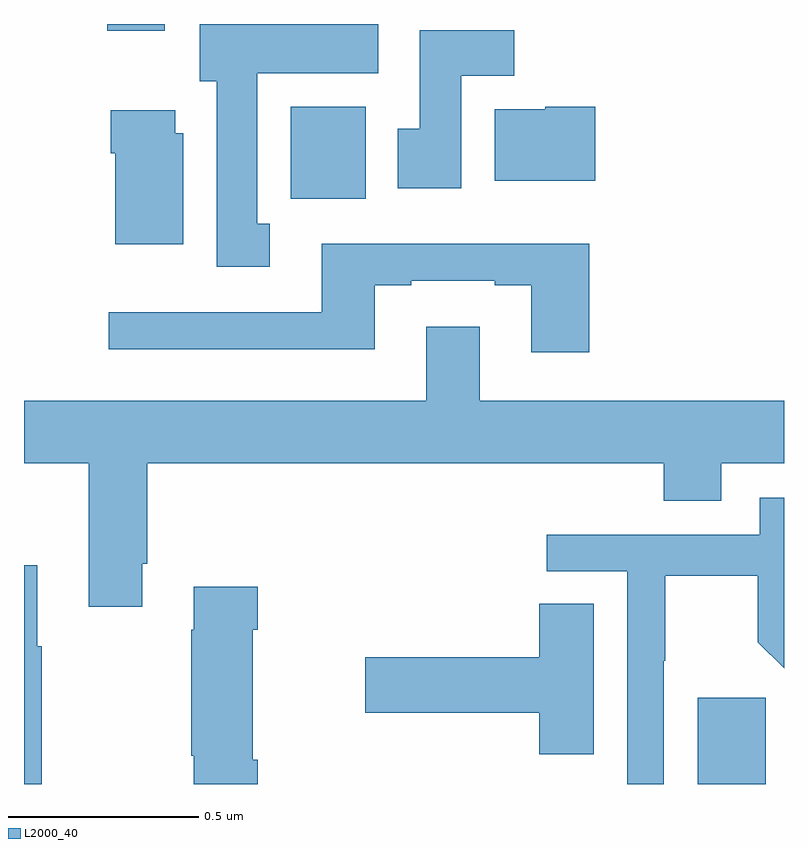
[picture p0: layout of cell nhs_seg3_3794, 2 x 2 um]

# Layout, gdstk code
import gdstk
lib = gdstk.Library(unit=1e-6, precision=1e-09)
def R(c, l, rs):  # rectangles x0, y0, x1, y1
    for r in rs: c.add(gdstk.rectangle(r[:2], r[2:], *l))
def P(c, l, *ps):  # polygons
    for p in ps: c.add(gdstk.Polygon(p, *l))
L2000_40 = (2000, 40)

nhs_seg3_3794 = lib.new_cell('nhs_seg3_3794')
R(nhs_seg3_3794, L2000_40, [(159.773,705.4,159.952,705.627), (158.702,706.94,158.899,707.182), (158.219,707.382,158.371,707.4)])
P(nhs_seg3_3794, L2000_40, [(158.647,706.874),(158.614,706.874),(158.614,707.27),(158.932,707.27),(158.932,707.4),(158.462,707.4),(158.462,707.25),(158.507,707.25),(158.507,706.761),(158.647,706.761)],
  [(159.151,707.264),(159.29,707.264),(159.29,707.383),(159.041,707.383),(159.041,707.124),(158.984,707.124),(158.984,706.968),(159.151,706.968)],
  [(159.503,707.182),(159.372,707.182),(159.372,707.176),(159.239,707.176),(159.239,706.988),(159.503,706.988)],
  [(158.419,707.112),(158.398,707.112),(158.398,707.173),(158.228,707.173),(158.228,707.06),(158.24,707.06),(158.24,706.82),(158.419,706.82)],
  [(159.488,706.822),(158.783,706.822),(158.783,706.641),(158.223,706.641),(158.223,706.544),(158.923,706.544),(158.923,706.713),(159.019,706.713),(159.019,706.725),(159.239,706.725),(159.239,706.713),(159.335,706.713),(159.335,706.536),(159.488,706.536)],
  [(158.311,705.979),(158.324,705.979),(158.324,706.244),(159.683,706.244),(159.683,706.145),(159.835,706.145),(159.835,706.244),(160,706.244),(160,706.408),(159.199,706.408),(159.199,706.603),(159.059,706.603),(159.059,706.408),(158,706.408),(158,706.244),(158.171,706.244),(158.171,705.867),(158.311,705.867)],
  [(159.684,705.724),(159.687,705.724),(159.687,705.948),(159.931,705.948),(159.931,705.773),(160,705.704),(160,706.153),(159.936,706.153),(159.936,706.056),(159.375,706.056),(159.375,705.96),(159.588,705.96),(159.588,705.4),(159.684,705.4)],
  [(158.047,705.763),(158.035,705.763),(158.035,705.976),(158,705.976),(158,705.4),(158.047,705.4)],
  [(158.615,705.464),(158.602,705.464),(158.602,705.806),(158.615,705.806),(158.615,705.919),(158.447,705.919),(158.447,705.806),(158.44,705.806),(158.44,705.475),(158.447,705.475),(158.447,705.4),(158.615,705.4)],
  [(159.499,705.875),(159.356,705.875),(159.356,705.734),(158.898,705.734),(158.898,705.587),(159.356,705.587),(159.356,705.478),(159.499,705.478)])

lib.write_gds('nhs_seg3_3794.gds')
